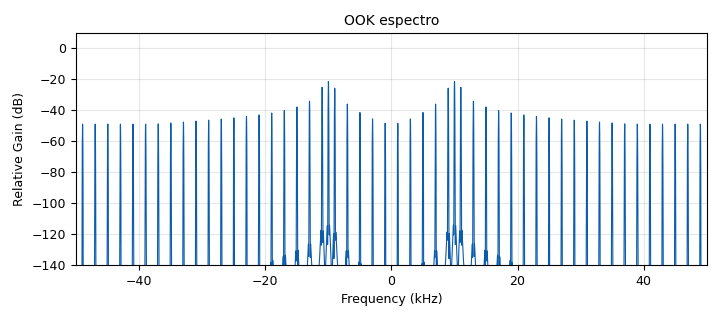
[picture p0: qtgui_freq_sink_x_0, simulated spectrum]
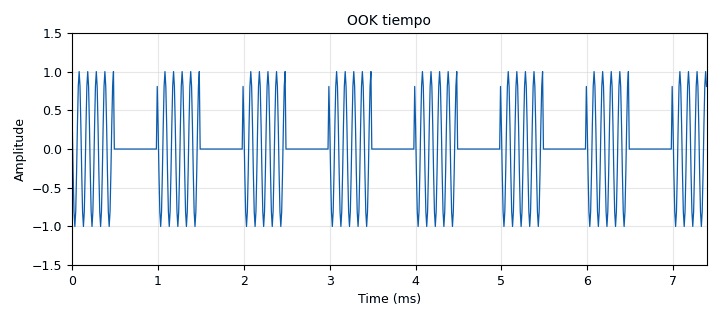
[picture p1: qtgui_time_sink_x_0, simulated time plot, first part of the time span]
options:
  parameters:
    generate_options: qt_gui
    id: untitled
    output_language: python
    title: Not titled yet
  states: {}

blocks:
- name: Ac
  id: variable
  parameters:
    value: '1'
  states: {}
- name: Rb
  id: variable
  parameters:
    value: '1000'
  states: {}
- name: delta_f
  id: variable
  parameters:
    value: '3000'
  states: {}
- name: f0
  id: variable
  parameters:
    value: '7000'
  states: {}
- name: f1
  id: variable
  parameters:
    value: '13000'
  states: {}
- name: fc
  id: variable
  parameters:
    value: '10000'
  states: {}
- name: samp_rate
  id: variable
  parameters:
    value: '100000'
  states: {}
- name: analog_sig_source_x_0
  id: analog_sig_source_x
  parameters:
    amp: '1'
    freq: Rb
    offset: '0'
    phase: '0'
    samp_rate: samp_rate
    type: float
    waveform: analog.GR_SQR_WAVE
  states: {}
- name: analog_sig_source_x_1
  id: analog_sig_source_x
  parameters:
    amp: Ac
    freq: fc
    offset: '0'
    phase: '0'
    samp_rate: samp_rate
    type: float
    waveform: analog.GR_COS_WAVE
  states: {}
- name: blocks_multiply_xx_0
  id: blocks_multiply_xx
  parameters:
    type: float
  states: {}
- name: blocks_throttle2_0
  id: blocks_throttle2
  parameters:
    samples_per_second: samp_rate
    type: float
  states: {}
- name: qtgui_freq_sink_x_0
  id: qtgui_freq_sink_x
  parameters:
    bw: samp_rate
    fc: '0'
    fftsize: '4096'
    name: '"OOK espectro"'
    type: float
  states: {}
- name: qtgui_time_sink_x_0
  id: qtgui_time_sink_x
  parameters:
    name: '"OOK tiempo"'
    size: '2048'
    srate: samp_rate
    type: float
    ymax: '1.5'
    ymin: '-1.5'
  states: {}

connections:
- [analog_sig_source_x_0, '0', blocks_multiply_xx_0, '0']
- [analog_sig_source_x_1, '0', blocks_multiply_xx_0, '1']
- [blocks_multiply_xx_0, '0', blocks_throttle2_0, '0']
- [blocks_throttle2_0, '0', qtgui_freq_sink_x_0, '0']
- [blocks_throttle2_0, '0', qtgui_time_sink_x_0, '0']

metadata:
  file_format: 1
  grc_version: 3.10.9.2
